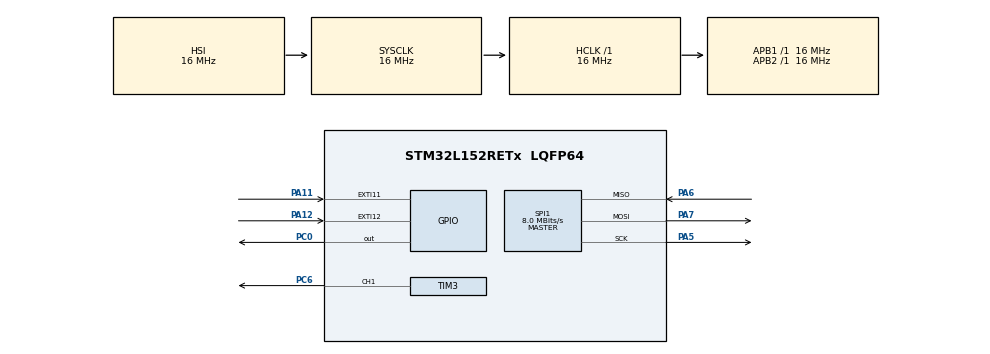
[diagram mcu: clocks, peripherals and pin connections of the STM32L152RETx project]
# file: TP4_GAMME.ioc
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Mcu.Family=STM32L1
Mcu.Name=STM32L152RETx
Mcu.Package=LQFP64
NVIC.EXTI15_10_IRQn=true\:0\:0\:false\:false\:true\:true\:true\:true
NVIC.PriorityGroup=NVIC_PRIORITYGROUP_4
PA11.Signal=GPXTI11
PA12.Signal=GPXTI12
PA5.Mode=Full_Duplex_Master
PA5.Signal=SPI1_SCK
PA6.Mode=Full_Duplex_Master
PA6.Signal=SPI1_MISO
PA7.Mode=Full_Duplex_Master
PA7.Signal=SPI1_MOSI
PB15.Signal=S_TIM11_CH1
PB7.Signal=S_TIM4_CH2
PC0.Signal=GPIO_Output
PC6.Signal=S_TIM3_CH1
ProjectManager.HeapSize=0x200
ProjectManager.StackSize=0x400
ProjectManager.TargetToolchain=STM32CubeIDE
RCC.AHBFreq_Value=16000000
RCC.APB1Freq_Value=16000000
RCC.APB1TimFreq_Value=16000000
RCC.APB2Freq_Value=16000000
RCC.APB2TimFreq_Value=16000000
RCC.HCLKFreq_Value=16000000
RCC.HSE_VALUE=24000000
RCC.HSI_VALUE=16000000
RCC.LSE_VALUE=32768
RCC.MSI_VALUE=2097000
RCC.SYSCLKFreq_VALUE=16000000
RCC.SYSCLKSource=RCC_SYSCLKSOURCE_HSI
RCC.VCOOutputFreq_Value=48000000
SH.S_TIM11_CH1.0=TIM11_CH1
SH.S_TIM3_CH1.0=TIM3_CH1,PWM Generation1 CH1
SH.S_TIM4_CH2.0=TIM4_CH2
SPI1.CalculateBaudRate=8.0 MBits/s
SPI1.Direction=SPI_DIRECTION_2LINES
SPI1.Mode=SPI_MODE_MASTER
SPI1.VirtualType=VM_MASTER
TIM3.AutoReloadPreload=TIM_AUTORELOAD_PRELOAD_ENABLE
TIM3.Channel-PWM\ Generation1\ CH1=TIM_CHANNEL_1
TIM3.Period=1600-1
TIM3.Prescaler=19-1
TIM3.Pulse-PWM\ Generation1\ CH1=800-1
VP_TIM3_VS_ClockSourceINT.Mode=Internal
board=custom

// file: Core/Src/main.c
/* USER CODE BEGIN Header */
/**
  ******************************************************************************
  * @file           : main.c
  * @brief          : Main program body
  ******************************************************************************
  * @attention
  *
  * Copyright (c) 2025 STMicroelectronics.
  * All rights reserved.
  *
  * This software is licensed under terms that can be found in the LICENSE file
  * in the root directory of this software component.
  * If no LICENSE file comes with this software, it is provided AS-IS.
  *
  ******************************************************************************
  */
/* USER CODE END Header */
#include "main.h"

/* USER CODE BEGIN Includes */
#include "max7219.h"

/* USER CODE END Includes */

SPI_HandleTypeDef hspi1;

TIM_HandleTypeDef htim3;

void SystemClock_Config(void);
static void MX_GPIO_Init(void);
static void MX_SPI1_Init(void);
static void MX_TIM3_Init(void);
/* USER CODE BEGIN PFP */
void DO();
void RE();
void MI();
void FA();
void SOL();
void LA();
void SI();

/* USER CODE END PFP */

/* USER CODE BEGIN 0 */
void DO() {
	MAX7219_DisplayChar(4, 0);
	TIM3->PSC = ((16000000/524)/1600) - 1;
}

void RE() {
	MAX7219_DisplayChar(4, 1);
	TIM3->PSC = ((16000000/587)/1600) - 1;
}

void MI() {
	MAX7219_DisplayChar(4, 2);
	TIM3->PSC = ((16000000/662)/1600) - 1;
}

void FA() {
	MAX7219_DisplayChar(4, 3);
	TIM3->PSC = ((16000000/701)/1600) - 1;
}

void SOL() {
	MAX7219_DisplayChar(4, 4);
	TIM3->PSC = ((16000000/787)/1600) - 1;
}

void LA() {
	MAX7219_DisplayChar(4, 5);
	TIM3->PSC = ((16000000/878)/1600) - 1;
}

void SI() {
	MAX7219_DisplayChar(4, 6);
	TIM3->PSC = ((16000000/1004)/1600) - 1;
}

/* USER CODE END 0 */

int main(void)
{

  /* MCU Configuration--------------------------------------------------------*/

  /* Reset of all peripherals, Initializes the Flash interface and the Systick. */
  HAL_Init();

  /* Configure the system clock */
  SystemClock_Config();

  /* Initialize all configured peripherals */
  MX_GPIO_Init();
  MX_SPI1_Init();
  MX_TIM3_Init();
  /* USER CODE BEGIN 2 */
  MAX7219_Init();
  HAL_TIM_PWM_Start(&htim3, TIM_CHANNEL_1);

  /* USER CODE END 2 */

  /* Infinite loop */
  /* USER CODE BEGIN WHILE */
  MAX7219_Clear();
  while (1)
  {
    /* USER CODE END WHILE */

    /* USER CODE BEGIN 3 */
	for (int i = 0; i < 7; i++) {
		if (i == 0) { // DO
			DO();
			HAL_Delay(500);
	     } else if (i == 1) { // RE
	        RE();
	        HAL_Delay(500);
	     } else if (i == 2) { // MI
	       MI();
	       HAL_Delay(500);
	     } else if (i == 3) { // FA
	       FA();
	       HAL_Delay(500);
	     } else if (i == 4) { // SOL
	       SOL();
	       HAL_Delay(500);
	     } else if (i == 5) { // LA
	        LA();
	        HAL_Delay(500);
	     } else if (i == 6) { // SI
	        SI();
	        HAL_Delay(500);
	     }
	}

 }
  /* USER CODE END 3 */
}

void SystemClock_Config(void)
{
  RCC_OscInitTypeDef RCC_OscInitStruct = {0};
  RCC_ClkInitTypeDef RCC_ClkInitStruct = {0};

  /** Configure the main internal regulator output voltage
  */
  __HAL_PWR_VOLTAGESCALING_CONFIG(PWR_REGULATOR_VOLTAGE_SCALE1);

  /** Initializes the RCC Oscillators according to the specified parameters
  * in the RCC_OscInitTypeDef structure.
  */
  RCC_OscInitStruct.OscillatorType = RCC_OSCILLATORTYPE_HSI;
  RCC_OscInitStruct.HSIState = RCC_HSI_ON;
  RCC_OscInitStruct.HSICalibrationValue = RCC_HSICALIBRATION_DEFAULT;
  RCC_OscInitStruct.PLL.PLLState = RCC_PLL_NONE;
  if (HAL_RCC_OscConfig(&RCC_OscInitStruct) != HAL_OK)
  {
    Error_Handler();
  }

  /** Initializes the CPU, AHB and APB buses clocks
  */
  RCC_ClkInitStruct.ClockType = RCC_CLOCKTYPE_HCLK|RCC_CLOCKTYPE_SYSCLK
                              |RCC_CLOCKTYPE_PCLK1|RCC_CLOCKTYPE_PCLK2;
  RCC_ClkInitStruct.SYSCLKSource = RCC_SYSCLKSOURCE_HSI;
  RCC_ClkInitStruct.AHBCLKDivider = RCC_SYSCLK_DIV1;
  RCC_ClkInitStruct.APB1CLKDivider = RCC_HCLK_DIV1;
  RCC_ClkInitStruct.APB2CLKDivider = RCC_HCLK_DIV1;

  if (HAL_RCC_ClockConfig(&RCC_ClkInitStruct, FLASH_LATENCY_0) != HAL_OK)
  {
    Error_Handler();
  }
}

static void MX_SPI1_Init(void)
{

  /* SPI1 parameter configuration*/
  hspi1.Instance = SPI1;
  hspi1.Init.Mode = SPI_MODE_MASTER;
  hspi1.Init.Direction = SPI_DIRECTION_2LINES;
  hspi1.Init.DataSize = SPI_DATASIZE_8BIT;
  hspi1.Init.CLKPolarity = SPI_POLARITY_LOW;
  hspi1.Init.CLKPhase = SPI_PHASE_1EDGE;
  hspi1.Init.NSS = SPI_NSS_SOFT;
  hspi1.Init.BaudRatePrescaler = SPI_BAUDRATEPRESCALER_2;
  hspi1.Init.FirstBit = SPI_FIRSTBIT_MSB;
  hspi1.Init.TIMode = SPI_TIMODE_DISABLE;
  hspi1.Init.CRCCalculation = SPI_CRCCALCULATION_DISABLE;
  hspi1.Init.CRCPolynomial = 10;
  if (HAL_SPI_Init(&hspi1) != HAL_OK)
  {
    Error_Handler();
  }

}

static void MX_TIM3_Init(void)
{

  TIM_ClockConfigTypeDef sClockSourceConfig = {0};
  TIM_MasterConfigTypeDef sMasterConfig = {0};
  TIM_OC_InitTypeDef sConfigOC = {0};

  htim3.Instance = TIM3;
  htim3.Init.Prescaler = 19-1;
  htim3.Init.CounterMode = TIM_COUNTERMODE_UP;
  htim3.Init.Period = 1600-1;
  htim3.Init.ClockDivision = TIM_CLOCKDIVISION_DIV1;
  htim3.Init.AutoReloadPreload = TIM_AUTORELOAD_PRELOAD_ENABLE;
  if (HAL_TIM_Base_Init(&htim3) != HAL_OK)
  {
    Error_Handler();
  }
  sClockSourceConfig.ClockSource = TIM_CLOCKSOURCE_INTERNAL;
  if (HAL_TIM_ConfigClockSource(&htim3, &sClockSourceConfig) != HAL_OK)
  {
    Error_Handler();
  }
  if (HAL_TIM_PWM_Init(&htim3) != HAL_OK)
  {
    Error_Handler();
  }
  sMasterConfig.MasterOutputTrigger = TIM_TRGO_RESET;
  sMasterConfig.MasterSlaveMode = TIM_MASTERSLAVEMODE_DISABLE;
  if (HAL_TIMEx_MasterConfigSynchronization(&htim3, &sMasterConfig) != HAL_OK)
  {
    Error_Handler();
  }
  sConfigOC.OCMode = TIM_OCMODE_PWM1;
  sConfigOC.Pulse = 800-1;
  sConfigOC.OCPolarity = TIM_OCPOLARITY_HIGH;
  sConfigOC.OCFastMode = TIM_OCFAST_DISABLE;
  if (HAL_TIM_PWM_ConfigChannel(&htim3, &sConfigOC, TIM_CHANNEL_1) != HAL_OK)
  {
    Error_Handler();
  }
  HAL_TIM_MspPostInit(&htim3);

}

static void MX_GPIO_Init(void)
{
  GPIO_InitTypeDef GPIO_InitStruct = {0};

  /* GPIO Ports Clock Enable */
  __HAL_RCC_GPIOC_CLK_ENABLE();
  __HAL_RCC_GPIOA_CLK_ENABLE();
  __HAL_RCC_GPIOB_CLK_ENABLE();

  /*Configure GPIO pin Output Level */
  HAL_GPIO_WritePin(GPIOC, GPIO_PIN_0, GPIO_PIN_RESET);

  /*Configure GPIO pin : PC0 */
  GPIO_InitStruct.Pin = GPIO_PIN_0;
  GPIO_InitStruct.Mode = GPIO_MODE_OUTPUT_PP;
  GPIO_InitStruct.Pull = GPIO_NOPULL;
  GPIO_InitStruct.Speed = GPIO_SPEED_FREQ_LOW;
  HAL_GPIO_Init(GPIOC, &GPIO_InitStruct);

  /*Configure GPIO pin : PB15 */
  GPIO_InitStruct.Pin = GPIO_PIN_15;
  GPIO_InitStruct.Mode = GPIO_MODE_AF_PP;
  GPIO_InitStruct.Pull = GPIO_NOPULL;
  GPIO_InitStruct.Speed = GPIO_SPEED_FREQ_LOW;
  GPIO_InitStruct.Alternate = GPIO_AF3_TIM11;
  HAL_GPIO_Init(GPIOB, &GPIO_InitStruct);

  /*Configure GPIO pins : PA11 PA12 */
  GPIO_InitStruct.Pin = GPIO_PIN_11|GPIO_PIN_12;
  GPIO_InitStruct.Mode = GPIO_MODE_IT_RISING;
  GPIO_InitStruct.Pull = GPIO_NOPULL;
  HAL_GPIO_Init(GPIOA, &GPIO_InitStruct);

  /*Configure GPIO pin : PB7 */
  GPIO_InitStruct.Pin = GPIO_PIN_7;
  GPIO_InitStruct.Mode = GPIO_MODE_AF_PP;
  GPIO_InitStruct.Pull = GPIO_NOPULL;
  GPIO_InitStruct.Speed = GPIO_SPEED_FREQ_LOW;
  GPIO_InitStruct.Alternate = GPIO_AF2_TIM4;
  HAL_GPIO_Init(GPIOB, &GPIO_InitStruct);

  /* EXTI interrupt init*/
  HAL_NVIC_SetPriority(EXTI15_10_IRQn, 0, 0);
  HAL_NVIC_EnableIRQ(EXTI15_10_IRQn);

}

void Error_Handler(void)
{
  __disable_irq();
  while (1)
  {
  }
}
